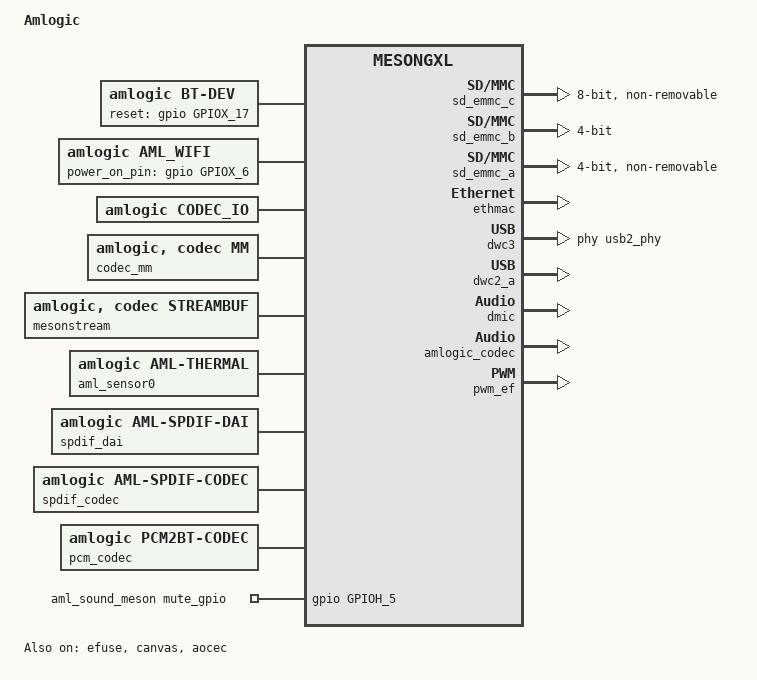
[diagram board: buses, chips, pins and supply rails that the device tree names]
/*
 * arch/arm64/boot/dts/amlogic/gxl_p231_2g.dts
 *
 * Copyright (C) 2017 Amlogic, Inc. All rights reserved.
 *
 * This program is free software; you can redistribute it and/or modify
 * it under the terms of the GNU General Public License as published by
 * the Free Software Foundation; either version 2 of the License, or
 * (at your option) any later version.
 *
 * This program is distributed in the hope that it will be useful, but WITHOUT
 * ANY WARRANTY; without even the implied warranty of MERCHANTABILITY or
 * FITNESS FOR A PARTICULAR PURPOSE.  See the GNU General Public License for
 * more details.
 *
 */

/dts-v1/;

#include <dt-bindings/interrupt-controller/arm-gic.h>
#include "mesongxl.dtsi"
#include "partition_mbox_normal.dtsi"
/ {
	model = "Amlogic";
	amlogic-dt-id = "gxl_p231_2g";
	compatible = "amlogic, Gxl";
	interrupt-parent = <&gic>;
	#address-cells = <2>;
	#size-cells = <2>;

	aliases {
		serial0 = &uart_AO;
		serial1 = &uart_A;
		serial2 = &uart_B;
		serial3 = &uart_C;
		serial4 = &uart_AO_B;
	};

	ion_dev {
		compatible = "amlogic, ion_dev";
		memory-region = <&ion_reserved>;
	};

	memory@00000000 {
		device_type = "memory";
		linux,usable-memory = <0x0 0x0100000 0x0 0x7ff00000>;
	};

	reserved-memory {
		#address-cells = <2>;
		#size-cells = <2>;
		ranges;
		/* global autoconfigured region for contiguous allocations */
		ramoops@0x07400000 {
			compatible = "ramoops";
			reg = <0x0 0x07400000 0x0 0x00100000>;
			record-size = <0x8000>;
			console-size = <0x8000>;
			ftrace-size = <0x0>;
			pmsg-size = <0x8000>;
		};

		secmon_reserved:linux,secmon {
			compatible = "shared-dma-pool";
			reusable;
			size = <0x0 0x400000>;
			alignment = <0x0 0x400000>;
			alloc-ranges = <0x0 0x05000000 0x0 0x400000>;
		};
		secos_reserved:linux,secos {
			status = "disable";
			compatible = "amlogic, aml_secos_memory";
			reg = <0x0 0x05300000 0x0 0x2000000>;
			no-map;
		};
		logo_reserved:linux,meson-fb {
			compatible = "shared-dma-pool";
			reusable;
			size = <0x0 0x800000>;
			alignment = <0x0 0x400000>;
			alloc-ranges = <0x0 0x7f800000 0x0 0x800000>;
		};
		//don't put other dts in front of logo_reserved

		//di_reserved:linux,di {
		//	compatible = "amlogic, di-mem";
			/** 10x3133440=30M(0x1e) support 8bit **/
		//	size = <0x0 0x1e00000>;
			//no-map;
		//};
		di_cma_reserved:linux,di_cma {
			compatible = "shared-dma-pool";
			reusable;
			/** 10x3133440=30M(0x1e) support 8bit **/
			size = <0x0 0x2000000>;
			alignment = <0x0 0x400000>;
		};
		ion_reserved:linux,ion-dev {
			compatible = "shared-dma-pool";
			reusable;
			size = <0x0 0x7C00000>;
			alignment = <0x0 0x400000>;
		};

		/*  vdin0 CMA pool */
		//vdin0_cma_reserved:linux,vdin0_cma {
		//	compatible = "shared-dma-pool";
		//	linux,phandle = <4>;
		//	reusable;
		/* 1920x1080x2x4  =16+4 M */
		//	size = <0x0 0x01400000>;
		//	alignment = <0x0 0x400000>;
		//};
		/*  vdin1 CMA pool */
		vdin1_cma_reserved:linux,vdin1_cma {
			compatible = "shared-dma-pool";
			reusable;
			/* 1920x1080x2x4  =16 M */
			size = <0x0 0x01000000>;
			alignment = <0x0 0x400000>;
		};
		/*  POST PROCESS MANAGER */
		ppmgr_reserved:linux,ppmgr {
			compatible = "shared-dma-pool";
			size = <0x0 0x0>;
		};

		codec_mm_cma:linux,codec_mm_cma {
			compatible = "shared-dma-pool";
			reusable;
			/* ion_codec_mm max can alloc size 80M*/
			size = <0x0 0x13400000>;
			alignment = <0x0 0x400000>;
			linux,contiguous-region;
		};
		picdec_cma_reserved:linux,picdec {
			compatible = "shared-dma-pool";
			reusable;
			size = <0x0 0x0>;
			alignment = <0x0 0x0>;
			linux,contiguous-region;
		};
		/* codec shared reserved */
		codec_mm_reserved:linux,codec_mm_reserved {
			compatible = "amlogic, codec-mm-reserved";
			size = <0x0 0x0>;
			alignment = <0x0 0x100000>;
			//no-map;
		};
	};

	bt-dev{
		compatible = "amlogic, bt-dev";
		dev_name = "bt-dev";
		status = "okay";
		gpio_reset = <&gpio       GPIOX_17       GPIO_ACTIVE_HIGH>;
	};

	wifi{
		compatible = "amlogic, aml_wifi";
		dev_name = "aml_wifi";
		status = "okay";
		interrupt_pin = <&gpio       GPIOX_7       GPIO_ACTIVE_HIGH>;
		irq_trigger_type = "GPIO_IRQ_LOW";
		power_on_pin = <&gpio       GPIOX_6       GPIO_ACTIVE_HIGH>;
		pinctrl-names = "default";
		pinctrl-0 = <&wifi_32k_pins>;
		pwm_config = <&wifi_pwm_conf>;
	};

	wifi_pwm_conf:wifi_pwm_conf{
		pwm_channel1_conf {
			pwms = <&pwm_ef MESON_PWM_0 30541 0>;
			duty-cycle = <15270>;
			times = <8>;
		};
		pwm_channel2_conf {
			pwms = <&pwm_ef MESON_PWM_2 30500 0>;
			duty-cycle = <15250>;
			times = <12>;
		};
	};

	sd_emmc_c: emmc@d0074000 {
		status = "okay";
		compatible = "amlogic, meson-mmc-gxl";
		reg = <0x0 0xd0074000 0x0 0x2000>;
		interrupts = <0 218 1>;
		pinctrl-names = "emmc_clk_cmd_pins", "emmc_all_pins";
		pinctrl-0 = <&emmc_clk_cmd_pins>;
		pinctrl-1 = <&emmc_conf_pull_up &emmc_conf_pull_done>;
		clocks = <&clkc CLKID_SD_EMMC_C>,
			   <&clkc CLKID_SD_EMMC_C_P0_COMP>,
			   <&clkc CLKID_FCLK_DIV2>;
		clock-names = "core", "clkin0", "clkin1";

		bus-width = <8>;
		cap-sd-highspeed;
		cap-mmc-highspeed;
		mmc-ddr-1_8v;
		mmc-hs200-1_8v;

		max-frequency = <200000000>;
		non-removable;
		disable-wp;
		emmc {
			pinname = "emmc";
			ocr_avail = <0x200080>; /**VDD voltage 3.3 ~ 3.4 */
			caps = "MMC_CAP_8_BIT_DATA",
				 "MMC_CAP_MMC_HIGHSPEED",
				 "MMC_CAP_SD_HIGHSPEED",
				 "MMC_CAP_NONREMOVABLE",
				 "MMC_CAP_1_8V_DDR",
				 "MMC_CAP_HW_RESET",
				 "MMC_CAP_ERASE",
				 "MMC_CAP_CMD23";
			caps2 = "MMC_CAP2_HS200", "MMC_CAP2_HS400";
			f_min = <400000>;
			f_max = <100000000>;
			max_req_size = <0x20000>; /**128KB*/
			gpio_dat3 = <&gpio BOOT_3 GPIO_ACTIVE_HIGH>;
			hw_reset = <&gpio BOOT_9 GPIO_ACTIVE_HIGH>;
			card_type = <1>;
			/* 1:mmc card(include eMMC),
			 * 2:sd card(include tSD)
			 */
		};
	};

	sd_emmc_b:sd@d0072000 {
		status = "okay";
		compatible = "amlogic, meson-mmc-gxl";
		reg = <0x0 0xd0072000 0x0 0x2000>;
		interrupts = <0 217 1>;
		pinctrl-names = "sd_all_pins",
			"sd_clk_cmd_pins",
			"sd_1bit_pins",
			"sd_clk_cmd_uart_pins",
			"sd_1bit_uart_pins",
			"sd_to_ao_uart_pins",
			"ao_to_sd_uart_pins",
			"ao_to_sd_jtag_pins",
			"sd_to_ao_jtag_pins";
		pinctrl-0 = <&sd_all_pins>;
		pinctrl-1 = <&sd_clk_cmd_pins>;
		pinctrl-2 = <&sd_1bit_pins>;
		pinctrl-3 = <&sd_to_ao_uart_clr_pins
			&sd_clk_cmd_pins &ao_to_sd_uart_pins>;
		pinctrl-4 = <&sd_to_ao_uart_clr_pins
			&sd_1bit_pins &ao_to_sd_uart_pins>;
		pinctrl-5 = <&sd_all_pins &sd_to_ao_uart_pins>;
		pinctrl-6 = <&sd_to_ao_uart_clr_pins &ao_to_sd_uart_pins>;
		pinctrl-7 = <&sd_to_ao_uart_clr_pins &ao_to_sd_uart_pins>;
		pinctrl-8 = <&sd_all_pins &sd_to_ao_uart_pins>;
		clocks = <&clkc CLKID_SD_EMMC_B>,
			   <&clkc CLKID_SD_EMMC_B_P0_COMP>,
			   <&clkc CLKID_FCLK_DIV2>;
		clock-names = "core", "clkin0", "clkin1";

		bus-width = <4>;
		cap-sd-highspeed;
		max-frequency = <100000000>;
		disable-wp;
		sd {
			pinname = "sd";
			ocr_avail = <0x200080>; /**VDD voltage 3.3 ~ 3.4 */
			caps = "MMC_CAP_4_BIT_DATA",
				 "MMC_CAP_MMC_HIGHSPEED",
				 "MMC_CAP_SD_HIGHSPEED";
			/* "MMC_CAP_UHS_SDR12",
			 * "MMC_CAP_UHS_SDR25",
			 * "MMC_CAP_UHS_SDR50",
			 * "MMC_CAP_UHS_SDR104";
			 */
			f_min = <400000>;
			f_max = <100000000>;
			max_req_size = <0x20000>; /**128KB*/
			gpio_dat3 = <&gpio CARD_4 GPIO_ACTIVE_HIGH>;
			jtag_pin = <&gpio CARD_0 GPIO_ACTIVE_HIGH>;
			gpio_cd = <&gpio CARD_6 GPIO_ACTIVE_HIGH>;
			card_type = <5>;
			/* 0:unknown,
			 * 1:mmc card(include eMMC),
			 * 2:sd card(include tSD),
			 * 3:sdio device(ie:sdio-wifi),
			 * 4:SD combo (IO+mem) card,
			 * 5:NON sdio device(means sd/mmc card),
			 * other:reserved
			 */
		};
	};

	sd_emmc_a:sdio@d0070000 {
		status = "okay";
		compatible = "amlogic, meson-mmc-gxl";
		reg = <0x0 0xd0070000 0x0 0x2000>;
		interrupts = <0 216 4>;
		pinctrl-names = "sdio_clk_cmd_pins", "sdio_all_pins";
		pinctrl-0 = <&sdio_clk_cmd_pins>;
		pinctrl-1 = <&sdio_all_pins>;
		clocks = <&clkc CLKID_SD_EMMC_A>,
			   <&clkc CLKID_SD_EMMC_A_P0_COMP>,
			   <&clkc CLKID_FCLK_DIV2>;
		clock-names = "core", "clkin0", "clkin1";

		bus-width = <4>;
		cap-sd-highspeed;
		cap-mmc-highspeed;
		max-frequency = <100000000>;
		non-removable;
		disable-wp;
		sdio {
			pinname = "sdio";
			ocr_avail = <0x200080>; /**VDD voltage 3.3 ~ 3.4 */
			caps = "MMC_CAP_4_BIT_DATA",
				 "MMC_CAP_MMC_HIGHSPEED",
				 "MMC_CAP_SD_HIGHSPEED",
				 "MMC_CAP_NONREMOVABLE",
				 "MMC_CAP_UHS_SDR12",
				 "MMC_CAP_UHS_SDR25",
				 "MMC_CAP_UHS_SDR50",
				 "MMC_CAP_UHS_SDR104",
				 "MMC_PM_KEEP_POWER",
				 "MMC_CAP_SDIO_IRQ";
			f_min = <400000>;
			f_max = <200000000>;
			max_req_size = <0x20000>; /**128KB*/
			card_type = <3>;
			/* 3:sdio device(ie:sdio-wifi),
			 * 4:SD combo (IO+mem) card
			 */
		};
	};

	ethmac: ethernet@0xc9410000 {
			compatible = "amlogic, gxbb-eth-dwmac";
			reg = <0x0 0xc9410000 0x0 0x10000
			0x0 0xc8834540 0x0 0x8
			0x0 0xc8834558 0x0 0xc>;
			interrupts = <0 8 1>;
			pinctrl-names = "external_eth_pins";
			pinctrl-0 = <&external_eth_pins>;
			rst_pin-gpios = <&gpio GPIOZ_14 0>;
			GPIOZ4_pin-gpios = <&gpio GPIOZ_4 0>;
			GPIOZ5_pin-gpios = <&gpio GPIOZ_5 0>;
			mc_val_internal_phy = <0x1800>;
			mc_val_external_phy = <0x1621>;
			cali_val = <0x20000>;
			interrupt-names = "macirq";
			clocks = <&clkc CLKID_ETH>;
			clock-names = "ethclk81";
			internal_phy=<1>;
	};

	codec_io {
		compatible = "amlogic, codec_io";
		#address-cells=<2>;
		#size-cells=<2>;
		ranges;
		io_cbus_base{
			reg = <0x0 0xC1100000 0x0 0x100000>;
		};
		io_dos_base{
			reg = <0x0 0xc8820000 0x0 0x10000>;
		};
		io_hiubus_base{
			reg = <0x0 0xc883c000 0x0 0x2000>;
		};
		io_aobus_base{
			reg = <0x0 0xc8100000 0x0 0x100000>;
		};
		io_vcbus_base{
			reg = <0x0 0xd0100000 0x0 0x40000>;
		};
		io_dmc_base{
			reg = <0x0 0xc8838000 0x0 0x400>;
		};
	};

	codec_mm {
		compatible = "amlogic, codec, mm";
		memory-region = <&codec_mm_cma &codec_mm_reserved>;
		dev_name = "codec_mm";
		status = "okay";
	};

	canvas{
		compatible = "amlogic, meson, canvas";
		dev_name = "amlogic-canvas";
		status = "ok";
		reg = <0x0 0xc8838000 0x0 0x400>;
	};

	mesonstream {
		compatible = "amlogic, codec, streambuf";
		dev_name = "mesonstream";
		status = "okay";
		clocks = <&clkc CLKID_DOS_PARSER
			&clkc CLKID_DEMUX
			&clkc CLKID_DOS
			&clkc CLKID_VDEC_MUX
			&clkc CLKID_HCODEC_MUX
			&clkc CLKID_HEVC_MUX>;
		clock-names = "parser_top",
			"demux",
			"vdec",
			"clk_vdec_mux",
			"clk_hcodec_mux",
			"clk_hevc_mux";
	};

	vdec {
		compatible = "amlogic, vdec";
		dev_name = "vdec.0";
		status = "okay";
		interrupts = <0 3 1
			0 23 1
			0 32 1
			0 43 1
			0 44 1
			0 45 1>;
		interrupt-names = "vsync",
			"demux",
			"parser",
			"mailbox_0",
			"mailbox_1",
			"mailbox_2";
	};

	aml_sensor0: aml-sensor@0 {
		compatible = "amlogic, aml-thermal";
		device_name = "thermal";
		#thermal-sensor-cells = <1>;
		cooling_devices {
			cpufreq_cool_cluster0 {
				min_state = <1000000>;
				dyn_coeff = <140>;
				cluster_id = <0>;
				node_name = "cpufreq_cool0";
				device_type = "cpufreq";
			};
			cpucore_cool_cluster0 {
				min_state = <1>;
				dyn_coeff = <0>;
				cluster_id = <0>;
				node_name = "cpucore_cool0";
				device_type = "cpucore";
			};
			gpufreq_cool {
				min_state = <400>;
				dyn_coeff = <437>;
				cluster_id = <0>;
				node_name = "gpufreq_cool0";
				device_type = "gpufreq";
			};
			gpucore_cool {
				min_state = <1>;
				dyn_coeff = <0>;
				cluster_id = <0>;
				node_name = "gpucore_cool0";
				device_type = "gpucore";
			};
		};
		cpufreq_cool0:cpufreq_cool0 {
			#cooling-cells = <2>; /* min followed by max */
		};
		cpucore_cool0:cpucore_cool0 {
			#cooling-cells = <2>; /* min followed by max */
		};
		gpufreq_cool0:gpufreq_cool0 {
			#cooling-cells = <2>; /* min followed by max */
		};
		gpucore_cool0:gpucore_cool0 {
			#cooling-cells = <2>; /* min followed by max */
		};
	};
	thermal-zones {
		soc_thermal {
			polling-delay = <1000>;
			polling-delay-passive = <100>;
			sustainable-power = <2150>;

			thermal-sensors = <&aml_sensor0 3>;

			trips {
				switch_on: trip-point@0 {
					temperature = <70000>;
					hysteresis = <1000>;
					type = "passive";
				};
				control: trip-point@1 {
					temperature = <80000>;
					hysteresis = <1000>;
					type = "passive";
				};
				hot: trip-point@2 {
					temperature = <85000>;
					hysteresis = <5000>;
					type = "hot";
				};
				critical: trip-point@3 {
					temperature = <260000>;
					hysteresis = <1000>;
					type = "critical";
				};
			};

			cooling-maps {
				cpufreq_cooling_map {
					trip = <&control>;
					cooling-device = <&cpufreq_cool0 0 4>;
					contribution = <1024>;
				};
				cpucore_cooling_map {
					trip = <&control>;
					cooling-device = <&cpucore_cool0 0 3>;
					contribution = <1024>;
				};
				gpufreq_cooling_map {
					trip = <&control>;
					cooling-device = <&gpufreq_cool0 0 4>;
					contribution = <1024>;
				};
				gpucore_cooling_map {
					trip = <&control>;
					cooling-device = <&gpucore_cool0 0 2>;
					contribution = <1024>;
				};
			};
		};
	};

	dwc3: dwc3@c9000000 {
		compatible = "synopsys, dwc3";
		reg = <0x0 0xc9000000 0x0 0x100000>;
		interrupts = <0 30 4>;
		usb-phy = <&usb2_phy>, <&usb3_phy>;
		cpu-type = "gxl";
		clock-src = "usb3.0";
	};

	usb2_phy: usb2phy@d0078000 {
		compatible = "amlogic, amlogic-new-usb2";
		portnum = <3>;
		reg = <0x0 0xd0078000 0x0 0x80
					0x0 0xc1104408 0x0 0x4>;
	};

	usb3_phy: usb3phy@d0078080 {
		compatible = "amlogic, amlogic-new-usb3";
		portnum = <0>;
		reg = <0x0 0xd0078080 0x0 0x20>;
	};

	dwc2_a {
		compatible = "amlogic, dwc2";
		device_name = "dwc2_a";
		reg = <0x0 0xc9100000 0x0 0x40000>;
		status = "okay";
		interrupts = <0 31 4>;
		pl-periph-id = <0>; /** lm name */
		clock-src = "usb0"; /** clock src */
		port-id = <0>;  /** ref to mach/usb.h */
		port-type = <2>;        /** 0: otg, 1: host, 2: slave */
		port-speed = <0>; /** 0: default, high, 1: full */
		port-config = <0>; /** 0: default */
		port-dma = <0>; /** 0: default ... 6: disable*/
		port-id-mode = <0>; /** 0: hardware, 1: sw_host, 2: sw_slave*/
		usb-fifo = <728>;
		cpu-type = "gxl";
		controller-type = <1>; /** 0: normal, 1: host, 2: device*/
		phy-reg = <0xd0078000>;
		phy-reg-size = <0xa0>;
		clocks = <&clkc CLKID_USB_GENERAL
			&clkc CLKID_USB1_TO_DDR
			&clkc CLKID_USB1>;
		clock-names = "usb_general",
			"usb1",
			"usb1_to_ddr";
		};

	meson-amvideom {
		compatible = "amlogic, amvideom";
		dev_name = "amvideom";
		status = "okay";
		interrupts = <0 3 1>;
		interrupt-names = "vsync";
	};

	vout {
		compatible = "amlogic, vout";
		dev_name = "vout";
		status = "okay";
		fr_auto_policy = <0>;
	};

	cvbsout {
		compatible = "amlogic, cvbsout-gxl";
		dev_name = "cvbsout";
		status = "okay";
		clocks = <&clkc CLKID_VCLK2_ENCI
			&clkc CLKID_VCLK2_VENCI0
			&clkc CLKID_VCLK2_VENCI1
			&clkc CLKID_DAC_CLK>;
		clock-names = "venci_top_gate",
			"venci_0_gate",
			"venci_1_gate",
			"vdac_clk_gate";

		/* performance: reg_address, reg_value */
		/* s905d */
		performance = <0x1bf0  0x9
			0x1b56  0x343
			0x1b12  0x8080
			0x1b05  0xfd
			0x1c59  0xf752
			0xffff  0x0>; /* ending flag */
	};

	amhdmitx: amhdmitx{
		compatible = "amlogic, amhdmitx";
		dev_name = "amhdmitx";
		status = "okay";
		vend-data = <&vend_data>;
		pinctrl-names="hdmitx_hpd", "hdmitx_ddc";
		pinctrl-0=<&hdmitx_hpd>;
		pinctrl-1=<&hdmitx_ddc>;
		/* HPD, 57 + 32 = 89; CEC, 151 + 32 = 183*/
		interrupts = <0 57 1>;
		interrupt-names = "hdmitx_hpd";
		/* 0:M8B 1:GXBB 2:GXTVBB 3:GXL 4:GXM
		 * 5:TXL 6:TXLX 7:AXG 8:GXLX 9:TXHD
		 */
		ic_type = <3>;
		vend_data: vend_data{ /* Should modified by Customer */
			vendor_name = "Amlogic"; /* Max Chars: 8 */
			/* standards.ieee.org/develop/regauth/oui/oui.txt */
			vendor_id = <0x000000>;
			product_desc = "MBox Meson Ref"; /* Max Chars: 16 */
		};
	};

	aocec: aocec{
		compatible = "amlogic, amlogic-aocec";
		device_name = "aocec";
		status = "okay";
		vendor_id = <0x000000>;
		cec_osd_string = "MBox"; /* Max Chars: 14    */
		cec_version = <5>; /* 5: 1.4, 6: 2.0 */
		port_num = <1>;
		arc_port_mask = <0x0>;
		interrupts = <0 199 1>;
		interrupt-names = "hdmi_aocec";
		pinctrl-names = "default";
		pinctrl-0=<&hdmitx_aocec>;
		reg = <0x0 0xc810023c 0x0 0x4
		       0x0 0xc8100000 0x0 0x200>;
		reg-names = "ao_exit","ao";
	};

	sysled {
		compatible = "amlogic, sysled";
		dev_name = "sysled";
		status = "disabled";
		led_gpio = <&gpio GPIODV_24 GPIO_ACTIVE_HIGH>;
		led_active_low = <1>;
	};

	meson-fb {
		compatible = "amlogic, meson-gxl";
		memory-region = <&logo_reserved>;
		dev_name = "meson-fb";
		status = "okay";
		interrupts = <0 3 1
			0 89 1>;
		interrupt-names = "viu-vsync", "rdma";
		mem_size = <0x00800000 0x01800000 0x00100000>;
		/* uboot logo,fb0/fb1 memory size,if afbcd fb0=0x01851000*/
		display_mode_default = "1080p60hz";
		scale_mode = <1>;
		/** 0:VPU free scale 1:OSD free scale 2:OSD super scale */
		display_size_default = <1920 1080 1920 3240 32>;
		/*1920*1080*4*3 = 0x17BB000*/
		logo_addr = "0x7f800000";
	};
	ge2d {
		compatible = "amlogic, ge2d-gxl";
		dev_name = "ge2d";
		status = "okay";
		interrupts = <0 150 1>;
		interrupt-names = "ge2d";
		clocks = <&clkc CLKID_VAPB_MUX>,
			<&clkc CLKID_G2D>,
			<&clkc CLKID_GE2D_GATE>;
		clock-names = "clk_vapb_0",
			"clk_ge2d",
			"clk_ge2d_gate";
	};


	/* AUDIO MESON DEVICES */
	i2s_dai: I2S {
		#sound-dai-cells = <0>;
		compatible = "amlogic, aml-i2s-dai";
		clocks =
			<&clkc CLKID_MPLL2>,
			<&clkc CLKID_AMCLK_COMP>,
			<&clkc CLKID_AIU_GLUE>,
			<&clkc CLKID_IEC958>,
			<&clkc CLKID_I2S_OUT>,
			<&clkc CLKID_AMCLK>,
			<&clkc CLKID_AIFIFO2>,
			<&clkc CLKID_MIXER>,
			<&clkc CLKID_MIXER_IFACE>,
			<&clkc CLKID_ADC>,
			<&clkc CLKID_AIU_TOP>,
			<&clkc CLKID_AOCLK_GATE>,
			<&clkc CLKID_I2S_SPDIF>;
		clock-names =
			"mpll",
			"mclk",
			"top_glue",
			"aud_buf",
			"i2s_out",
			"amclk_measure",
			"aififo2",
			"aud_mixer",
			"mixer_reg",
			"adc",
			"top_level",
			"aoclk",
			"aud_in";
		i2s_pos_sync = <0>;
		/*DMIC;*/  /* I2s Mic or Dmic, default for I2S mic */
	};
	dmic:snd_dmic {
		#sound-dai-cells = <0>;
		compatible = "aml, aml_snd_dmic";
		reg = <0x0 0xd0042000 0x0 0x2000>;
		status = "okay";
		resets = <
			&clkc CLKID_PDM_GATE
		>;
		reset-names =	"pdm";
		pinctrl-names = "audio_dmic";
		pinctrl-0 = <&aml_dmic_pins>;
		clocks = <&clkc CLKID_PDM_COMP>,
			<&clkc CLKID_AMCLK_COMP>;
		clock-names = "pdm", "mclk";
	};
	spdif_dai: SPDIF {
		#sound-dai-cells = <0>;
		compatible = "amlogic, aml-spdif-dai";
		clocks =
			<&clkc CLKID_MPLL1>,
			<&clkc CLKID_I958_COMP>,
			<&clkc CLKID_AMCLK_COMP>,
			<&clkc CLKID_I958_COMP_SPDIF>,
			<&clkc CLKID_CLK81>,
			<&clkc CLKID_IEC958>,
			<&clkc CLKID_IEC958_GATE>;
		clock-names =
			"mpll1",
			"i958",
			"mclk",
			"spdif",
			"clk_81",
			"iec958",
			"iec958_amclk";
	};
	pcm_dai: PCM {
		#sound-dai-cells = <0>;
		compatible = "amlogic, aml-pcm-dai";
		pinctrl-names = "audio_pcm";
		pinctrl-0 = <&audio_pcm_pins>;
		clocks =
			<&clkc CLKID_MPLL0>,
			<&clkc CLKID_PCM_MCLK_COMP>,
			<&clkc CLKID_PCM_SCLK_GATE>;
		clock-names =
			"mpll0",
			"pcm_mclk",
			"pcm_sclk";
		pcm_mode = <1>; /* 0=slave mode, 1=master mode */
	};
	i2s_plat: i2s_platform {
		compatible = "amlogic, aml-i2s";
		interrupts = <0 29 1>;
	};
	pcm_plat: pcm_platform {
		compatible = "amlogic, aml-pcm";
	};
	spdif_codec: spdif_codec{
		#sound-dai-cells = <0>;
		compatible = "amlogic, aml-spdif-codec";
		pinctrl-names = "audio_spdif";
		pinctrl-0 = <&audio_spdif_pins>;
	};
	pcm_codec: pcm_codec{
		#sound-dai-cells = <0>;
		compatible = "amlogic, pcm2BT-codec";
	};
	/* endof AUDIO MESON DEVICES */

	/* AUDIO board specific */
	dummy_codec:dummy{
		#sound-dai-cells = <0>;
		compatible = "amlogic, aml_dummy_codec";
		status = "disable";
	};
	amlogic_codec:t9015{
		#sound-dai-cells = <0>;
		compatible = "amlogic, aml_codec_T9015";
		reg = <0x0 0xc8832000 0x0 0x14>;
		status = "okay";
	};
	aml_sound_meson {
		compatible = "aml, meson-snd-card";
		status = "okay";
		aml-sound-card,format = "i2s";
		aml_sound_card,name = "AML-MESONAUDIO";
		aml,audio-routing =
				"Ext Spk","LOUTL",
				"Ext Spk","LOUTR";

		mute_gpio-gpios = <&gpio GPIOH_5 0>;
		mute_inv;
		hp_disable;
		hp_paraments = <800 300 0 5 1>;
		pinctrl-names = "audio_i2s";
		pinctrl-0 = <&audio_i2s_pins>;
		cpu_list = <&cpudai0 &cpudai1 &cpudai2>;
		codec_list = <&codec0 &codec1 &codec2>;
		plat_list = <&i2s_plat &i2s_plat &pcm_plat>;
		cpudai0: cpudai0 {
			sound-dai = <&i2s_dai>;
		};
		cpudai1: cpudai1 {
			sound-dai = <&spdif_dai>;
		};
		cpudai2: cpudai2 {
			sound-dai = <&pcm_dai>;
		};
		codec0: codec0 {
			sound-dai = <&amlogic_codec>;
		};
		codec1: codec1 {
			sound-dai = <&spdif_codec>;
		};
		codec2: codec2 {
			sound-dai = <&pcm_codec>;
		};
	};
	/* END OF AUDIO board specific */
	rdma{
		compatible = "amlogic, meson, rdma";
		dev_name = "amlogic-rdma";
		status = "ok";
		interrupts = <0 89 1>;
		interrupt-names = "rdma";
	};

	amvenc_avc{
		compatible = "amlogic, amvenc_avc";
		dev_name = "amvenc_avc";
		status = "okay";
		interrupts = <0 45 1>;
		interrupt-names = "mailbox_2";
	};

	hevc_enc{
		compatible = "cnm, HevcEnc";
		dev_name = "HevcEnc";
		status = "okay";
		interrupts = <0 187 1>;
		interrupt-names = "wave420l_irq";
		#address-cells=<2>;
		#size-cells=<2>;
		ranges;
		io_reg_base{
			reg = <0x0 0xc8810000 0x0 0x4000>;
		};
	};

	picdec {
		compatible = "amlogic, picdec";
		memory-region = <&picdec_cma_reserved>;
		dev_name = "picdec";
		status = "okay";
	};

	ppmgr {
		compatible = "amlogic, ppmgr";
		memory-region = <&ppmgr_reserved>;
		dev_name = "ppmgr";
		status = "okay";
	};

	deinterlace {
		compatible = "amlogic, deinterlace";
		status = "okay";
		flag_cma = <1>;/*0:use reserved;1:use cma*/
		//memory-region = <&di_reserved>;
		memory-region = <&di_cma_reserved>;
		interrupts = <0 46 1 0 6 1>;
		interrupt-names = "de_irq",	"timerc";
		/*
		 * nr_size(byte) = 1920*544*2(yuv422 8bit) |
		 * 1920*544*2*12/8(yuv422 10bit)
		 * | 1920*544*2*10/8(yuv422 10bit full pack mode)
		 */
		/* mtn_size(byte) = 1920*544/2 */
		/* count_size(byte) = 1920*544/2 */
		buffer-size = <3133440>;
		hw-version = <2>;
	};

	ionvideo {
		compatible = "amlogic, ionvideo";
		dev_name = "ionvideo";
		status = "okay";
	};

	amlvideo {
		compatible = "amlogic, amlvideo";
		dev_name = "amlvideo";
		status = "okay";
	};

	amlvideo2_0 {
		compatible = "amlogic, amlvideo2";
		dev_name = "amlvideo2";
		status = "okay";
		amlvideo2_id = <0>;
		cma_mode = <1>;
	};

	amlvideo2_1 {
		compatible = "amlogic, amlvideo2";
		dev_name = "amlvideo2";
		status = "okay";
		amlvideo2_id = <1>;
		cma_mode = <1>;
	};

	/*if you want to use vdin just modify status to "ok"*/
	vdin0 {
		compatible = "amlogic, vdin";
		/*memory-region = <&vdin0_cma_reserved>;*/
		dev_name = "vdin0";
		status = "ok";
		reserve-iomap = "true";
		flag_cma = <1>;/*1:share with codec_mm;2:cma alone*/
		/*MByte, if 10bit disable: 64M(YUV422),
		 *if 10bit enable: 64*1.5 = 96M(YUV422)
		 *if support 4K2K-YUV444-10bit-WR:3840*2160*4*4 ~= 128M
		 *if support 4K2K-YUV422-10bit-wr:3840*2160*3*4 ~= 96M
		 *if support 4K2K-YUV422-8BIT-WR:3840*2160*2*4 ~= 64M
		 *if support 1080p-YUV422-8BIT-WR:1920*1080*2*4 ~= 16M
		 */
		cma_size = <16>;
		interrupts = <0 83 1>;
		rdma-irq = <2>;
		/*clocks = <&clock CLK_FPLL_DIV5>,
		 *	<&clock CLK_VDIN_MEAS_CLK>;
		 *clock-names = "fclk_div5", "cts_vdin_meas_clk";
		 */
		vdin_id = <0>;
		/*vdin write mem color depth support:
		 *bit0:support 8bit
		 *bit1:support 9bit
		 *bit2:support 10bit
		 *bit3:support 12bit
		 *bit4:support yuv422 10bit full pack mode (from txl new add)
		 */
		tv_bit_mode = <1>;
	};
	vdin1 {
		compatible = "amlogic, vdin";
		memory-region = <&vdin1_cma_reserved>;
		dev_name = "vdin1";
		status = "ok";
		reserve-iomap = "true";
		flag_cma = <0>;/*1:share with codec_mm;0:cma alone*/
		interrupts = <0 85 1>;
		rdma-irq = <4>;
		/*clocks = <&clock CLK_FPLL_DIV5>,
		 *	<&clock CLK_VDIN_MEAS_CLK>;
		 *clock-names = "fclk_div5", "cts_vdin_meas_clk";
		 */
		vdin_id = <1>;
		/*vdin write mem color depth support:
		 *bit0:support 8bit
		 *bit1:support 9bit
		 *bit2:support 10bit
		 *bit3:support 12bit
		 */
		tv_bit_mode = <1>;
	};

	amlvecm {
		compatible = "amlogic, vecm";
		dev_name = "aml_vecm";
		status = "okay";
		gamma_en = <0>;/*1:enabel ;0:disable*/
		wb_en = <0>;/*1:enabel ;0:disable*/
		cm_en = <0>;/*1:enabel ;0:disable*/
		/*1:enabel osd lut 100 table;0:disable*/
		cfg_en_osd_100 = <1>;
		/*0: 709/601  1: bt2020*/
		tx_op_color_primary = <0>;
	};

	unifykey{
		compatible = "amlogic, unifykey";
		status = "ok";

		unifykey-num = <15>;
		unifykey-index-0 = <&keysn_0>;
		unifykey-index-1 = <&keysn_1>;
		unifykey-index-2 = <&keysn_2>;
		unifykey-index-3 = <&keysn_3>;
		unifykey-index-4 = <&keysn_4>;
		unifykey-index-5 = <&keysn_5>;
		unifykey-index-6 = <&keysn_6>;
		unifykey-index-7 = <&keysn_7>;
		unifykey-index-8 = <&keysn_8>;
		unifykey-index-9 = <&keysn_9>;
		unifykey-index-10= <&keysn_10>;
		unifykey-index-11= <&keysn_11>;
		unifykey-index-12= <&keysn_12>;
		unifykey-index-13= <&keysn_13>;
		unifykey-index-14= <&keysn_14>;

		keysn_0: key_0{
			key-name = "usid";
			key-device = "normal";
			key-permit = "read","write","del";
		};
		keysn_1:key_1{
			key-name = "mac";
			key-device = "normal";
			key-permit = "read","write","del";
		};
		keysn_2:key_2{
			key-name = "hdcp";
			key-device = "secure";
			key-type = "sha1";
			key-permit = "read","write","del";
		};
		keysn_3:key_3{
			key-name = "secure_boot_set";
			key-device = "efuse";
			key-permit = "write";
		};
		keysn_4:key_4{
			key-name = "mac_bt";
			key-device = "normal";
			key-permit = "read","write","del";
			key-type  = "mac";
		};
		keysn_5:key_5{
			key-name = "mac_wifi";
			key-device = "normal";
			key-permit = "read","write","del";
			key-type = "mac";
		};
		keysn_6:key_6{
			key-name = "hdcp2_tx";
			key-device = "normal";
			key-permit = "read","write","del";
		};
		keysn_7:key_7{
			key-name = "hdcp2_rx";
			key-device = "normal";
			key-permit = "read","write","del";
		};
		keysn_8:key_8{
			key-name = "widevinekeybox";
			key-device = "secure";
			key-permit = "read","write","del";
		};
		keysn_9:key_9{
			key-name = "deviceid";
			key-device = "normal";
			key-permit = "read","write","del";
		};
		keysn_10:key_10{
			key-name = "hdcp22_fw_private";
			key-device = "secure";
			key-permit = "read","write","del";
		};
		keysn_11:key_11{
			key-name = "PlayReadykeybox25";
			key-device = "secure";
			key-permit = "read","write","del";
		};
		keysn_12:key_12{
			key-name = "prpubkeybox";// PlayReady
			key-device = "secure";
			key-permit = "read","write","del";
		};
		keysn_13:key_13{
			key-name = "prprivkeybox";// PlayReady
			key-device = "secure";
			key-permit = "read","write","del";
		};
		keysn_14:key_14{
			key-name = "attestationkeybox";// attestation key
			key-device = "secure";
			key-permit = "read","write","del";
		};
	};//End unifykey
};
&efuse {
	status = "ok";
};

&pwm_ef {
	status = "okay";
};

